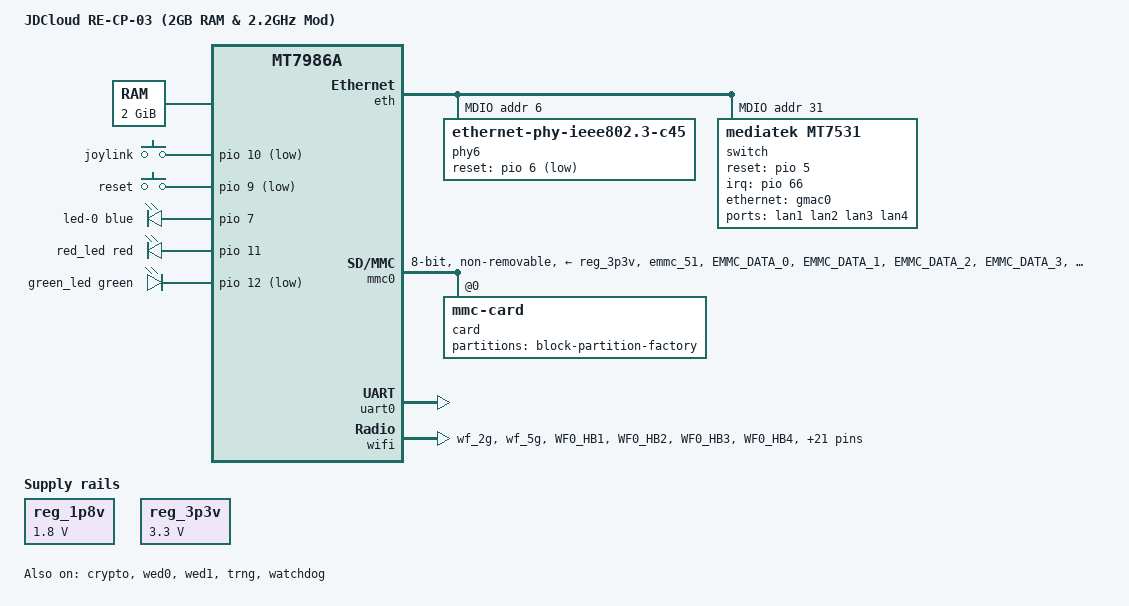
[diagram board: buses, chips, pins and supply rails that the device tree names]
// SPDX-License-Identifier: GPL-2.0-or-later OR MIT

/dts-v1/;
#include <dt-bindings/gpio/gpio.h>
#include <dt-bindings/input/input.h>
#include <dt-bindings/leds/common.h>

#include "mt7986a.dtsi"

/ {
	model = "JDCloud RE-CP-03 (2GB RAM & 2.2GHz Mod)";
	compatible = "jdcloud,re-cp-03", "mediatek,mt7986a";

	aliases {
		led-boot = &red_led;
		led-failsafe = &red_led;
		led-running = &green_led;
		led-upgrade = &green_led;
		serial0 = &uart0;
	};

	chosen {
		bootargs = "root=PARTLABEL=rootfs rootwait rootfstype=squashfs,f2fs";
		stdout-path = "serial0:115200n8";
	};

	/* [重型装甲 1]：适配 2GB 物理内存
	 * 百里原厂多为 1GB，魔改 2GB 后需修改 reg 长度为 0x80000000
	 */
	memory@40000000 {
		reg = <0 0x40000000 0 0x80000000>;
	};

	/* [重型装甲 2]：WED DDP 影子内存隔离区
	 * 128MB 专用 DMA 池，彻底解决大流量下的无线抖动
	 */
	reserved-memory {
		#address-cells = <2>;
		#size-cells = <2>;
		ranges;

		wed_cma_resv: wed_cma@48000000 {
			compatible = "shared-dma-pool";
			reusable;
			size = <0x00000000 0x08000000>; /* 128MB */
			alloc-ranges = <0x00000000 0x40000000 0x00000000 0x80000000>;
			linux,cma-default;
		};
	};

	gpio-keys {
		compatible = "gpio-keys";
		button-joylink {
			label = "joylink";
			linux,code = <BTN_0>;
			gpios = <&pio 10 GPIO_ACTIVE_LOW>;
		};
		button-reset {
			label = "reset";
			linux,code = <KEY_RESTART>;
			gpios = <&pio 9 GPIO_ACTIVE_LOW>;
		};
	};

	gpio-leds {
		compatible = "gpio-leds";
		led-0 {
			color = <LED_COLOR_ID_BLUE>;
			function = LED_FUNCTION_STATUS;
			gpios = <&pio 7 GPIO_ACTIVE_HIGH>;
		};
		red_led: led-1 {
			color = <LED_COLOR_ID_RED>;
			function = LED_FUNCTION_STATUS;
			gpios = <&pio 11 GPIO_ACTIVE_HIGH>;
		};
		green_led: led-2 {
			color = <LED_COLOR_ID_GREEN>;
			function = LED_FUNCTION_STATUS;
			gpios = <&pio 12 GPIO_ACTIVE_LOW>;
		};
	};

	reg_1p8v: regulator-1p8v {
		compatible = "regulator-fixed";
		regulator-name = "fixed-1.8V";
		regulator-min-microvolt = <1800000>;
		regulator-max-microvolt = <1800000>;
		regulator-boot-on;
		regulator-always-on;
	};

	reg_3p3v: regulator-3p3v {
		compatible = "regulator-fixed";
		regulator-name = "fixed-3.3V";
		regulator-min-microvolt = <3300000>;
		regulator-max-microvolt = <3300000>;
		regulator-boot-on;
		regulator-always-on;
	};
};

/* [重型装甲 3]：2.2GHz 暴力主频表
 * 百里散热压力比红米大，建议配合你的紫铜片改造
 */
&cpu_opp_table {
	opp-2200000000 {
		opp-hz = /bits/ 64 <2200000000>;
		opp-microvolt = <1025000>;
		clock-latency-ns = <20000>;
	};
};

&crypto {
	status = "okay";
};

/* 硬件加速引擎绑定 CMA */
&wed0 {
	memory-region = <&wed_cma_resv>;
	status = "okay";
};

&wed1 {
	status = "okay";
};

&eth {
	status = "okay";
	gmac0: mac@0 {
		compatible = "mediatek,eth-mac";
		reg = <0>;
		phy-mode = "2500base-x";
		nvmem-cells = <&macaddr_factory_2a 0>;
		nvmem-cell-names = "mac-address";
		fixed-link {
			speed = <2500>;
			full-duplex;
			pause;
		};
	};
	gmac1: mac@1 {
		compatible = "mediatek,eth-mac";
		reg = <1>;
		phy-mode = "2500base-x";
		phy-handle = <&phy6>;
		nvmem-cells = <&macaddr_factory_24 0>;
		nvmem-cell-names = "mac-address";
	};
	mdio: mdio-bus {
		#address-cells = <1>;
		#size-cells = <0>;
	};
};

&mdio {
	phy6: phy@6 {
		compatible = "ethernet-phy-ieee802.3-c45";
		reg = <6>;
		reset-gpios = <&pio 6 GPIO_ACTIVE_LOW>;
		reset-assert-us = <15000>;
		reset-deassert-us = <68000>;
		realtek,aldps-enable;
	};
	switch: switch@1f {
		compatible = "mediatek,mt7531";
		reg = <31>;
		reset-gpios = <&pio 5 GPIO_ACTIVE_HIGH>;
		interrupt-controller;
		#interrupt-cells = <1>;
		interrupt-parent = <&pio>;
		interrupts = <66 IRQ_TYPE_LEVEL_HIGH>;
	};
};

&mmc0 {
	bus-width = <8>;
	cap-mmc-highspeed;
	hs400-ds-delay = <0x14014>;
	max-frequency = <200000000>;
	mmc-hs200-1_8v;
	mmc-hs400-1_8v;
	no-sd;
	no-sdio;
	non-removable;
	pinctrl-names = "default", "state_uhs";
	pinctrl-0 = <&mmc0_pins_default>;
	pinctrl-1 = <&mmc0_pins_uhs>;
	vmmc-supply = <&reg_3p3v>;
	vqmmc-supply = <&reg_1p8v>;
	status = "okay";

	card@0 {
		compatible = "mmc-card";
		reg = <0>;
		block {
			compatible = "block-device";
			partitions {
				block-partition-factory {
					partname = "factory";
					nvmem-layout {
						compatible = "fixed-layout";
						#address-cells = <1>;
						#size-cells = <1>;
						eeprom_factory_0: eeprom@0 {
							reg = <0x0 0x1000>;
						};
						macaddr_factory_24: macaddr@24 {
							compatible = "mac-base";
							reg = <0x24 0x6>;
							#nvmem-cell-cells = <1>;
						};
						macaddr_factory_2a: macaddr@2a {
							compatible = "mac-base";
							reg = <0x2a 0x6>;
							#nvmem-cell-cells = <1>;
						};
					};
				};
			};
		};
	};
};

&pio {
	/* eMMC 信号稳定性增强 - 针对魔改高频环境 */
	mmc0_pins_default: mmc0-pins-default {
		mux {
			function = "emmc";
			groups = "emmc_51";
		};
		conf-cmd-dat {
			pins = "EMMC_DATA_0", "EMMC_DATA_1", "EMMC_DATA_2",
			"EMMC_DATA_3", "EMMC_DATA_4", "EMMC_DATA_5",
			"EMMC_DATA_6", "EMMC_DATA_7", "EMMC_CMD";
			input-enable;
			drive-strength = <8>; /* 增加驱动能力确保高速读写不掉速 */
			mediatek,pull-up-adv = <1>;
		};
		conf-clk {
			pins = "EMMC_CK";
			drive-strength = <8>;
			mediatek,pull-down-adv = <2>;
		};
		conf-ds {
			pins = "EMMC_DSL";
			mediatek,pull-down-adv = <2>;
		};
		conf-rst {
			pins = "EMMC_RSTB";
			drive-strength = <8>;
			mediatek,pull-up-adv = <1>;
		};
	};

	mmc0_pins_uhs: mmc0-uhs-pins {
		mux {
			function = "emmc";
			groups = "emmc_51";
		};
		conf-cmd-dat {
			pins = "EMMC_DATA_0", "EMMC_DATA_1", "EMMC_DATA_2",
			"EMMC_DATA_3", "EMMC_DATA_4", "EMMC_DATA_5",
			"EMMC_DATA_6", "EMMC_DATA_7", "EMMC_CMD";
			input-enable;
			drive-strength = <8>;
			mediatek,pull-up-adv = <1>;
		};
		conf-clk {
			pins = "EMMC_CK";
			drive-strength = <8>;
			mediatek,pull-down-adv = <2>;
		};
		conf-ds {
			pins = "EMMC_DSL";
			mediatek,pull-down-adv = <2>;
		};
		conf-rst {
			pins = "EMMC_RSTB";
			drive-strength = <8>;
			mediatek,pull-up-adv = <1>;
		};
	};

	wf_2g_5g_pins: wf-2g-5g-pins {
		mux {
			function = "wifi";
			groups = "wf_2g", "wf_5g";
		};
		conf {
			pins = "WF0_HB1", "WF0_HB2", "WF0_HB3", "WF0_HB4",
			"WF0_HB0", "WF0_HB0_B", "WF0_HB5", "WF0_HB6",
			"WF0_HB7", "WF0_HB8", "WF0_HB9", "WF0_HB10",
			"WF0_TOP_CLK", "WF0_TOP_DATA", "WF1_HB1",
			"WF1_HB2", "WF1_HB3", "WF1_HB4", "WF1_HB0",
			"WF1_HB5", "WF1_HB6", "WF1_HB7", "WF1_HB8",
			"WF1_TOP_CLK", "WF1_TOP_DATA";
			drive-strength = <4>;
		};
	};
};

&switch {
	ports {
		#address-cells = <1>;
		#size-cells = <0>;
		port@1 { reg = <1>; label = "lan1"; };
		port@2 { reg = <2>; label = "lan2"; };
		port@3 { reg = <3>; label = "lan3"; };
		port@4 { reg = <4>; label = "lan4"; };
		port@6 {
			reg = <6>;
			ethernet = <&gmac0>;
			phy-mode = "2500base-x";
			fixed-link {
				speed = <2500>;
				full-duplex;
				pause;
			};
		};
	};
};

&trng { status = "okay"; };
&uart0 { status = "okay"; };
&watchdog { status = "okay"; };

&wifi {
	nvmem-cells = <&eeprom_factory_0>;
	nvmem-cell-names = "eeprom";
	pinctrl-names = "default";
	pinctrl-0 = <&wf_2g_5g_pins>;
	status = "okay";
};
